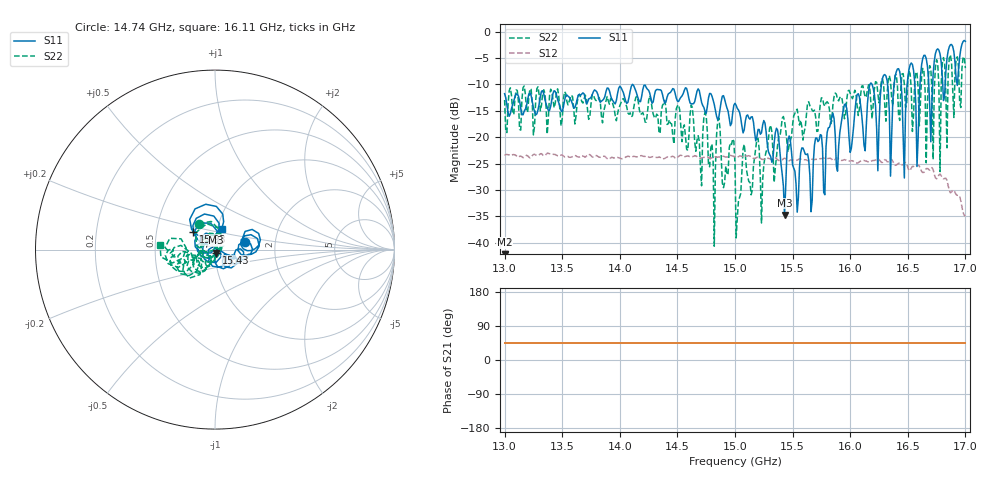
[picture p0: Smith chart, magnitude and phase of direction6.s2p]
!Keysight Technologies,P9374A,MY57211810,A.19.30.04
!Date: Friday, May 02, 2025 09:01:20
!Correction: S11(Off)
!S21(Off)
!S12(Off)
!S22(Off)
!S2P File: Measurements: S11, S21, S12, S22:
# Hz S  dB  R 50
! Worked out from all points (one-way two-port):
!   401 points, 13 GHz to 17 GHz, reference 50 ohm
!   highest |S21| = - dB at 13 GHz (marker M1); lowest = - dB at 13 GHz (marker M2)
!   lowest |S11| = -34.7 dB at 15.43 GHz (marker M3), VSWR 1.04, Z = 50.6 - j1.73 ohm
!   |S11| at or under -10 dB: start of sweep to 14.11 GHz; 14.11 GHz to 16.17 GHz (2.061 GHz wide, 13.6 % of centre); 16.18991 GHz to 16.27102 GHz (81.1 MHz wide, 0.5 % of centre) (the widest 3 of 9)
!   |S22| runs from -40.7 to -4.4 dB; largest |S21 - S12| = 0.071
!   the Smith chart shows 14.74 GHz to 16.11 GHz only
!   S11 on the Smith chart (normalised r, x): 14.74 GHz: 1.40, +0.12; 15.43 GHz: 1.01, -0.03; 15.93 GHz: 0.77, +0.16; 16.11 GHz: 1.05, +0.25
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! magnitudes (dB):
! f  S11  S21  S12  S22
! 13 GHz  -11.8  -  -23.5  -13.0
! 13.67 GHz  -11.8  -  -23.5  -13.3
! 14.34 GHz  -11.0  -  -23.8  -19.1
! 14.74 GHz  -15.2  -  -23.8  -15.3
! 14.8 GHz  -12.2  -  -23.9  -21.3
! 14.86 GHz  -16.2  -  -23.8  -16.4
! 15 GHz  -13.6  -  -23.8  -25.2
! 15.43 GHz  -34.7  -  -24.0  -17.0
! 15.47 GHz  -19.8  -  -24.5  -21.6
! 15.67 GHz  -32.0  -  -24.2  -14.9
! 15.93 GHz  -16.2  -  -24.4  -12.8
! 16.11 GHz  -18.2  -  -24.5  -10.2
! 16.3 GHz  -8.1  -  -24.3  -13.9
! 16.34 GHz  -15.3  -  -24.4  -8.3
! 16.41 GHz  -7.1  -  -25.1  -10.2
! 16.47 GHz  -27.7  -  -25.0  -9.9
! 16.54 GHz  -6.2  -  -25.5  -18.9
! 16.58 GHz  -25.6  -  -25.4  -7.9
! 16.64 GHz  -4.5  -  -26.7  -7.5
! 16.7 GHz  -20.9  -  -26.0  -7.1
! 16.75 GHz  -3.5  -  -27.9  -5.3
! 17 GHz  -1.8  -  -34.9  -6.9
